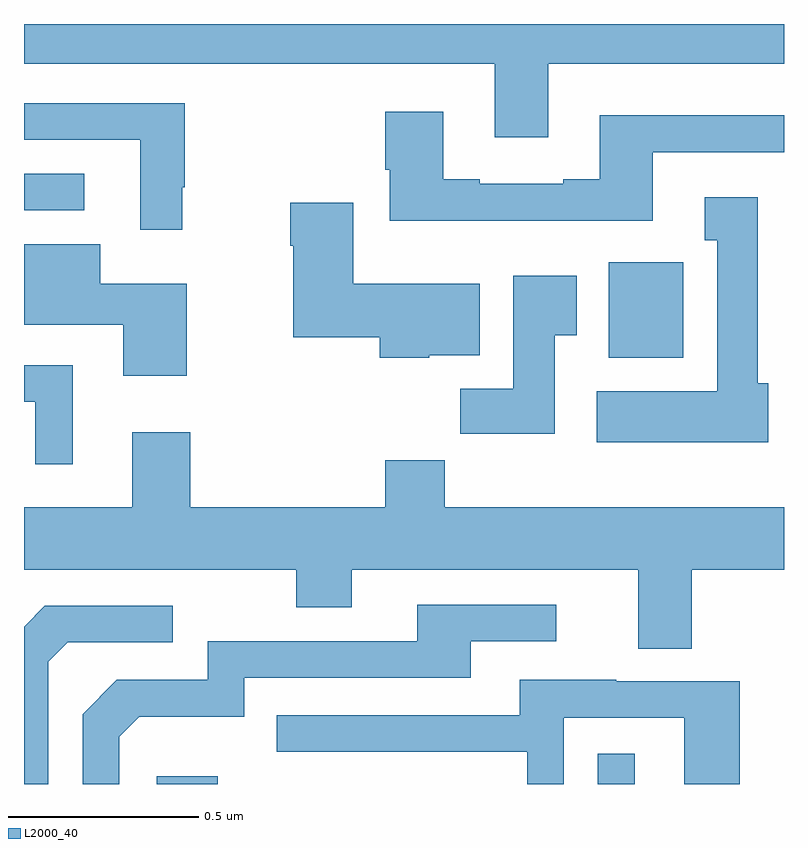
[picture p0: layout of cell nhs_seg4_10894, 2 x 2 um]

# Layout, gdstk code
import gdstk
lib = gdstk.Library(unit=1e-6, precision=1e-09)
def R(c, l, rs):  # rectangles x0, y0, x1, y1
    for r in rs: c.add(gdstk.rectangle(r[:2], r[2:], *l))
def P(c, l, *ps):  # polygons
    for p in ps: c.add(gdstk.Polygon(p, *l))
L2000_40 = (2000, 40)

nhs_seg4_10894 = lib.new_cell('nhs_seg4_10894')
R(nhs_seg4_10894, L2000_40, [(245.349,818.9,245.51,818.92), (246.51,818.9,246.607,818.98), (246.539,820.022,246.735,820.273), (245,820.41,245.158,820.506)])
P(nhs_seg4_10894, L2000_40, [(246.379,820.796),(247,820.796),(247,820.9),(245,820.9),(245,820.796),(246.239,820.796),(246.239,820.602),(246.379,820.602)],
  [(245.416,820.471),(245.423,820.471),(245.423,820.692),(245,820.692),(245,820.596),(245.306,820.596),(245.306,820.359),(245.416,820.359)],
  [(246.655,820.563),(247,820.563),(247,820.66),(246.515,820.66),(246.515,820.492),(246.419,820.492),(246.419,820.479),(246.199,820.479),(246.199,820.492),(246.103,820.492),(246.103,820.669),(245.951,820.669),(245.951,820.516),(245.963,820.516),(245.963,820.382),(246.655,820.382)],
  [(246.958,819.954),(246.931,819.954),(246.931,820.444),(246.791,820.444),(246.791,820.331),(246.824,820.331),(246.824,819.934),(246.507,819.934),(246.507,819.8),(246.958,819.8)],
  [(246.066,820.028),(246.199,820.028),(246.199,820.216),(245.866,820.216),(245.866,820.429),(245.701,820.429),(245.701,820.316),(245.708,820.316),(245.708,820.076),(245.936,820.076),(245.936,820.022),(246.066,820.022)],
  [(245.428,820.216),(245.2,820.216),(245.2,820.321),(245,820.321),(245,820.109),(245.261,820.109),(245.261,819.975),(245.428,819.975)],
  [(246.397,820.081),(246.454,820.081),(246.454,820.237),(246.287,820.237),(246.287,819.94),(246.148,819.94),(246.148,819.822),(246.397,819.822)],
  [(245.128,820.002),(245,820.002),(245,819.906),(245.03,819.906),(245.03,819.741),(245.128,819.741)],
  [(246.757,819.464),(247,819.464),(247,819.628),(246.107,819.628),(246.107,819.752),(245.951,819.752),(245.951,819.628),(245.438,819.628),(245.438,819.826),(245.285,819.826),(245.285,819.628),(245,819.628),(245,819.464),(245.716,819.464),(245.716,819.365),(245.863,819.365),(245.863,819.464),(246.617,819.464),(246.617,819.256),(246.757,819.256)],
  [(245.25,819.024),(245.303,819.077),(245.58,819.077),(245.58,819.18),(246.175,819.18),(246.175,819.276),(246.4,819.276),(246.4,819.372),(246.035,819.372),(246.035,819.276),(245.484,819.276),(245.484,819.174),(245.244,819.174),(245.154,819.084),(245.154,818.9),(245.25,818.9)],
  [(245.064,819.222),(245.115,819.273),(245.392,819.273),(245.392,819.369),(245.055,819.369),(245,819.314),(245,818.9),(245.064,818.9)],
  [(246.42,819.075),(246.738,819.075),(246.738,818.9),(246.883,818.9),(246.883,819.171),(246.559,819.171),(246.559,819.175),(246.305,819.175),(246.305,819.081),(245.665,819.081),(245.665,818.985),(246.324,818.985),(246.324,818.9),(246.42,818.9)])

lib.write_gds('nhs_seg4_10894.gds')
